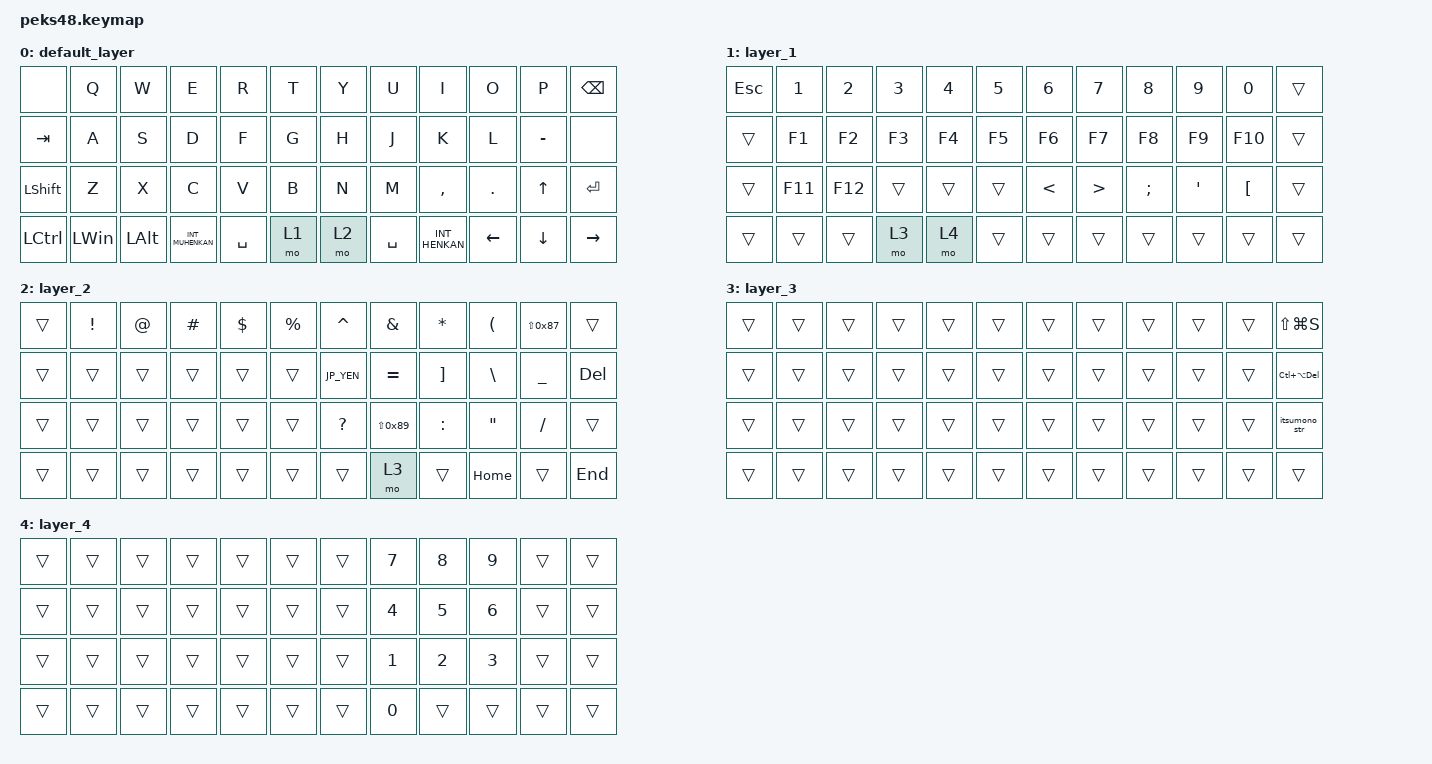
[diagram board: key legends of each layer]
#include <input/processors.dtsi>
#include <dt-bindings/zmk/input_transform.h>
#include <zephyr/dt-bindings/input/input-event-codes.h>
#include <behaviors.dtsi>
#include <dt-bindings/zmk/keys.h>

// Conversion definition for using Japanese keyboard with OS settings

#define MASTER_LEFT
#define JP_DQUOTE       AT                // "
#define JP_AMPERSAND    CARET             // &
#define JP_QUOTE        AMPERSAND         // '
#define JP_EQUAL        UNDER             // =
#define JP_CARET        EQUAL             // ^
#define JP_YEN          0x89              // ¥
#define JP_PLUS         COLON             // +
#define JP_TILDE        PLUS              // ~
#define JP_PIPE         LS(0x89)          // |
#define JP_AT           LEFT_BRACKET      // @
#define JP_COLON        SINGLE_QUOTE      // :
#define JP_ASTERISK     DOUBLE_QUOTES     // *
#define JP_BACKQUOTE    LEFT_BRACE        // `
#define JP_UNDERSCORE   LS(0x87)          // _
#define JP_LBRACKET     RIGHT_BRACKET     // [
#define JP_RBRACKET     BACKSLASH         // ]
#define JP_LPAREN       ASTERISK          // (
#define JP_RPAREN       LEFT_PARENTHESIS  // )
#define JP_LBRACE       RIGHT_BRACE       // {
#define JP_RBRACE       PIPE              // }
#define JP_KANA         LANGUAGE_1        // かな
#define JP_EISU         LANGUAGE_2        // 英数
#define JP_HANZEN       GRAVE             // 半角/全角

&mt {
    flavor = "balanced";
    quick-tap-ms = <0>;
};

// マクロmoCを定義する例（￥と｜を設定）
//    / {
//        combos { compatible = "zmk,combos"; };
//        moC: moC {
//            compatible = "zmk,behavior-mod-morph";
//            #binding-cells = <0>;
//            bindings = <&kp INT3>, <&kp JP_PIPE>;
//
//            mods = <(MOD_LSFT|MOD_RSFT)>;
//        };

/ {
    macros {
        itsumono_str: new_macro {
            compatible = "zmk,behavior-macro";
            #binding-cells = <0>;
            bindings = <&kp LS(T) &kp A &kp N &kp N1 &kp T &kp A &kp N &kp EXCL>;
            label = "NEW_MACRO";
        };
    };

    keymap {
        compatible = "zmk,keymap";

        default_layer {
            bindings = <
&none       &kp Q         &kp W         &kp E             &kp R        &kp T  &kp Y  &kp U      &kp I           &kp O           &kp P           &kp BACKSPACE
&kp TAB     &kp A         &kp S         &kp D             &kp F        &kp G  &kp H  &kp J      &kp K           &kp L           &kp MINUS       &none
&kp LSHIFT  &kp Z         &kp X         &kp C             &kp V        &kp B  &kp N  &kp M      &kp COMMA       &kp DOT         &kp UP_ARROW    &kp ENTER
&kp LCTRL   &kp LEFT_WIN  &kp LEFT_ALT  &kp INT_MUHENKAN  &kp SPACE    &mo 1  &mo 2  &kp SPACE  &kp INT_HENKAN  &kp LEFT_ARROW  &kp DOWN_ARROW  &kp RIGHT_ARROW
            >;
        };

        layer_1 {
            bindings = <
&kp ESCAPE &kp NUMBER_1  &kp NUMBER_2  &kp NUMBER_3  &kp NUMBER_4  &kp NUMBER_5    &kp NUMBER_6   &kp NUMBER_7      &kp NUMBER_8   &kp NUMBER_9  &kp NUMBER_0  &trans
&trans     &kp F1        &kp F2        &kp F3        &kp F4        &kp F5          &kp F6         &kp F7            &kp F8         &kp F9        &kp F10       &trans
&trans     &kp F11       &kp F12       &trans        &trans        &trans          &kp LESS_THAN  &kp GREATER_THAN  &kp SEMICOLON  &kp JP_COLON  &kp JP_AT     &trans
&trans     &trans        &trans        &mo 3         &mo 4         &trans          &trans         &trans            &trans         &trans        &trans        &trans
            >;
        };

        layer_2 {
            bindings = <
&trans  &kp EXCLAMATION  &kp JP_DQUOTE  &kp POUND  &kp DOLLAR  &kp PERCENT    &kp JP_AMPERSAND  &kp JP_QUOTE  &kp JP_LPAREN    &kp JP_RPAREN    &kp JP_UNDERSCORE  &trans
&trans  &trans           &trans         &trans     &trans      &trans         &kp JP_YEN        &kp JP_CARET  &kp JP_LBRACKET  &kp JP_RBRACKET  &kp JP_EQUAL       &kp DELETE
&trans  &trans           &trans         &trans     &trans      &trans         &kp QUESTION      &kp JP_PIPE   &kp JP_PLUS      &kp JP_ASTERISK  &kp SLASH          &trans
&trans  &trans           &trans         &trans     &trans      &trans         &trans            &mo 3         &trans           &kp HOME         &trans             &kp END
            >;
        };

        layer_3 {
            bindings = <
&trans  &trans  &trans  &trans  &trans  &trans    &trans  &trans  &trans  &trans  &trans  &kp LS(LG(S))
&trans  &trans  &trans  &trans  &trans  &trans    &trans  &trans  &trans  &trans  &trans  &kp LC(LA(DEL))
&trans  &trans  &trans  &trans  &trans  &trans    &trans  &trans  &trans  &trans  &trans  &itsumono_str
&trans  &trans  &trans  &trans  &trans  &trans    &trans  &trans  &trans  &trans  &trans  &trans
            >;
        };

        layer_4 {
            bindings = <
&trans  &trans  &trans  &trans  &trans  &trans    &trans  &kp NUMBER_7  &kp NUMBER_8  &kp NUMBER_9  &trans  &trans
&trans  &trans  &trans  &trans  &trans  &trans    &trans  &kp NUMBER_4  &kp NUMBER_5  &kp NUMBER_6  &trans  &trans
&trans  &trans  &trans  &trans  &trans  &trans    &trans  &kp NUMBER_1  &kp NUMBER_2  &kp NUMBER_3  &trans  &trans
&trans  &trans  &trans  &trans  &trans  &trans    &trans  &kp NUMBER_0  &trans        &trans        &trans  &trans
            >;
        };

    };
};
